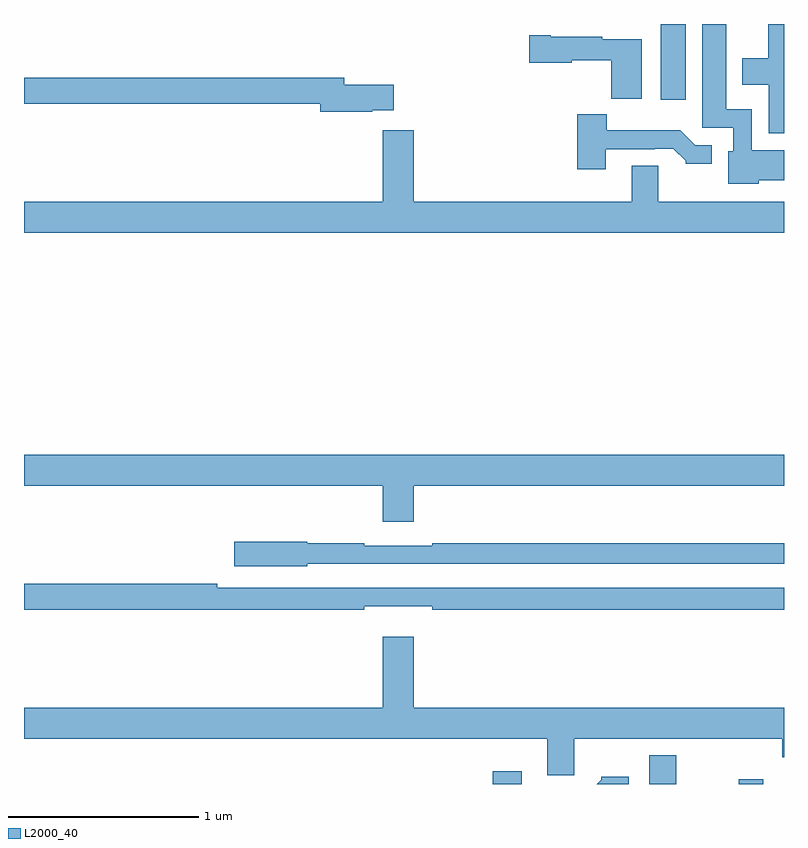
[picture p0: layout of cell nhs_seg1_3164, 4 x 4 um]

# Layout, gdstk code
import gdstk
lib = gdstk.Library(unit=1e-6, precision=1e-09)
def R(c, l, rs):  # rectangles x0, y0, x1, y1
    for r in rs: c.add(gdstk.rectangle(r[:2], r[2:], *l))
def P(c, l, *ps):  # polygons
    for p in ps: c.add(gdstk.Polygon(p, *l))
L2000_40 = (2000, 40)

nhs_seg1_3164 = lib.new_cell('nhs_seg1_3164')
R(nhs_seg1_3164, L2000_40, [(285.467,514.199,285.619,514.267), (286.29,514.199,286.434,514.351), (286.762,514.199,286.891,514.225), (286.352,517.8,286.483,518.199)])
P(nhs_seg1_3164, L2000_40, [(286.866,517.376),(287,517.376),(287,517.534),(286.83,517.534),(286.83,517.75),(286.696,517.75),(286.696,518.199),(286.571,518.199),(286.571,517.653),(286.734,517.653),(286.734,517.53),(286.706,517.53),(286.706,517.358),(286.866,517.358)],
  [(287,518.199),(286.918,518.199),(286.918,518.02),(286.781,518.02),(286.781,517.88),(286.92,517.88),(286.92,517.623),(287,517.623)],
  [(286.252,518.119),(286.044,518.119),(286.044,518.131),(285.772,518.131),(285.772,518.139),(285.66,518.139),(285.66,517.996),(285.882,517.996),(285.882,518.009),(286.09,518.009),(286.09,517.805),(286.252,517.805)],
  [(284.834,517.745),(284.947,517.745),(284.947,517.88),(284.686,517.88),(284.686,517.916),(283,517.916),(283,517.78),(284.558,517.78),(284.558,517.738),(284.834,517.738)],
  [(286.063,517.539),(286.319,517.539),(286.319,517.542),(286.418,517.542),(286.482,517.478),(286.482,517.463),(286.621,517.463),(286.621,517.56),(286.533,517.56),(286.455,517.639),(286.066,517.639),(286.066,517.723),(285.911,517.723),(285.911,517.434),(286.063,517.434)],
  [(287,517.264),(286.339,517.264),(286.339,517.454),(286.199,517.454),(286.199,517.264),(285.052,517.264),(285.052,517.639),(284.888,517.639),(284.888,517.264),(283,517.264),(283,517.1),(287,517.1)],
  [(285.052,515.768),(287,515.768),(287,515.932),(283,515.932),(283,515.768),(284.888,515.768),(284.888,515.58),(285.052,515.58)],
  [(284.49,515.358),(287,515.358),(287,515.467),(285.148,515.467),(285.148,515.454),(284.792,515.454),(284.792,515.467),(284.49,515.467),(284.49,515.475),(284.106,515.475),(284.106,515.345),(284.49,515.345)],
  [(284.792,515.135),(285.148,515.135),(285.148,515.116),(287,515.116),(287,515.232),(284.018,515.232),(284.018,515.252),(283,515.252),(283,515.116),(284.792,515.116)],
  [(285.895,514.436),(286.99,514.436),(286.99,514.34),(287,514.34),(287,514.6),(285.052,514.6),(285.052,514.975),(284.888,514.975),(284.888,514.6),(283,514.6),(283,514.436),(285.755,514.436),(285.755,514.246),(285.895,514.246)],
  [(286.183,514.237),(286.038,514.237),(286.038,514.222),(286.015,514.199),(286.183,514.199)])

lib.write_gds('nhs_seg1_3164.gds')
